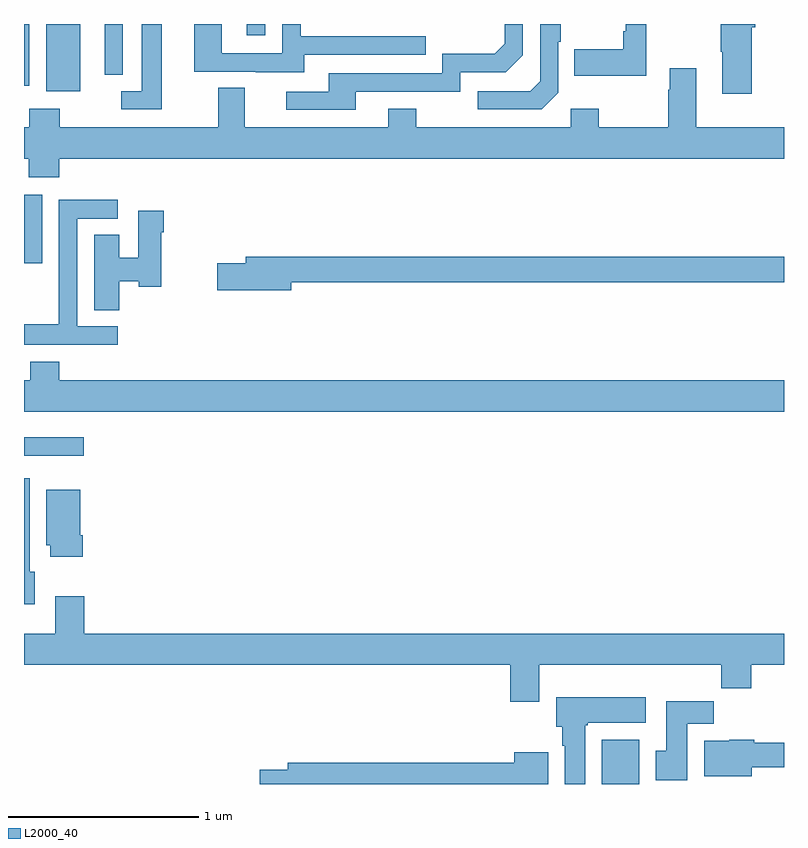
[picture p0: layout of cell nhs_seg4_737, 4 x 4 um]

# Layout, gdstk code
import gdstk
lib = gdstk.Library(unit=1e-6, precision=1e-09)
def R(c, l, rs):  # rectangles x0, y0, x1, y1
    for r in rs: c.add(gdstk.rectangle(r[:2], r[2:], *l))
def P(c, l, *ps):  # polygons
    for p in ps: c.add(gdstk.Polygon(p, *l))
L2000_40 = (2000, 40)

nhs_seg4_737 = lib.new_cell('nhs_seg4_737')
R(nhs_seg4_737, L2000_40, [(152.042,754.9,152.239,755.134), (149,756.627,149.314,756.724), (149,757.641,149.095,758.002), (149.117,758.546,149.296,758.9), (149,758.575,149.028,758.9), (150.173,758.841,150.27,758.9)])
P(nhs_seg4_737, L2000_40, [(149.725,758.9),(149.621,758.9),(149.621,758.547),(149.511,758.547),(149.511,758.451),(149.725,758.451)],
  [(150.475,758.739),(151.115,758.739),(151.115,758.835),(150.456,758.835),(150.456,758.9),(150.36,758.9),(150.36,758.745),(150.042,758.745),(150.042,758.9),(149.897,758.9),(149.897,758.649),(150.221,758.649),(150.221,758.645),(150.475,758.645)],
  [(151.812,758.538),(151.812,758.807),(151.825,758.807),(151.825,758.9),(151.716,758.9),(151.716,758.598),(151.665,758.547),(151.389,758.547),(151.389,758.451),(151.725,758.451)],
  [(149.52,758.9),(149.426,758.9),(149.426,758.786),(149.424,758.786),(149.424,758.632),(149.52,758.632)],
  [(152.83,758.883),(152.848,758.883),(152.848,758.9),(152.668,758.9),(152.668,758.755),(152.675,758.755),(152.675,758.532),(152.83,758.532)],
  [(152.275,758.9),(152.166,758.9),(152.166,758.863),(152.154,758.863),(152.154,758.767),(151.897,758.767),(151.897,758.627),(152.275,758.627)],
  [(150.745,758.544),(151.296,758.544),(151.296,758.646),(151.536,758.646),(151.626,758.736),(151.626,758.9),(151.53,758.9),(151.53,758.796),(151.477,758.743),(151.2,758.743),(151.2,758.64),(150.605,758.64),(150.605,758.544),(150.381,758.544),(150.381,758.448),(150.745,758.448)],
  [(149.186,758.192),(153,758.192),(153,758.356),(152.539,758.356),(152.539,758.668),(152.399,758.668),(152.399,758.555),(152.392,758.555),(152.392,758.356),(152.025,758.356),(152.025,758.455),(151.878,758.455),(151.878,758.356),(151.065,758.356),(151.065,758.455),(150.917,758.455),(150.917,758.356),(150.163,758.356),(150.163,758.564),(150.023,758.564),(150.023,758.356),(149.187,758.356),(149.187,758.455),(149.027,758.455),(149.027,758.356),(149,758.356),(149,758.192),(149.026,758.192),(149.026,758.093),(149.186,758.093)],
  [(149.494,757.308),(149.28,757.308),(149.28,757.875),(149.494,757.875),(149.494,757.974),(149.184,757.974),(149.184,757.544),(149.182,757.544),(149.182,757.321),(149,757.321),(149,757.212),(149.494,757.212)],
  [(149.5,757.547),(149.604,757.547),(149.604,757.517),(149.722,757.517),(149.722,757.805),(149.735,757.805),(149.735,757.918),(149.6,757.918),(149.6,757.669),(149.5,757.669),(149.5,757.79),(149.369,757.79),(149.369,757.393),(149.5,757.393)],
  [(150.406,757.54),(153,757.54),(153,757.676),(150.167,757.676),(150.167,757.64),(150.018,757.64),(150.018,757.498),(150.406,757.498)],
  [(153,757.024),(149.186,757.024),(149.186,757.123),(149.033,757.123),(149.033,757.024),(149,757.024),(149,756.86),(153,756.86)],
  [(149.056,756.018),(149.029,756.018),(149.029,756.508),(149,756.508),(149,755.846),(149.056,755.846)],
  [(149.309,756.208),(149.296,756.208),(149.296,756.448),(149.117,756.448),(149.117,756.156),(149.138,756.156),(149.138,756.096),(149.309,756.096)],
  [(151.711,755.528),(152.671,755.528),(152.671,755.404),(152.828,755.404),(152.828,755.528),(153,755.528),(153,755.692),(149.318,755.692),(149.318,755.887),(149.165,755.887),(149.165,755.692),(149,755.692),(149,755.528),(151.559,755.528),(151.559,755.334),(151.711,755.334)],
  [(151.954,755.209),(151.968,755.209),(151.968,755.222),(152.272,755.222),(152.272,755.356),(151.802,755.356),(151.802,755.202),(151.832,755.202),(151.832,755.102),(151.847,755.102),(151.847,754.9),(151.954,754.9)],
  [(152.491,755.216),(152.63,755.216),(152.63,755.335),(152.381,755.335),(152.381,755.076),(152.324,755.076),(152.324,754.92),(152.491,754.92)],
  [(152.83,754.987),(153,754.987),(153,755.116),(152.843,755.116),(152.843,755.134),(152.712,755.134),(152.712,755.128),(152.579,755.128),(152.579,754.94),(152.83,754.94)],
  [(151.759,755.068),(151.58,755.068),(151.58,755.012),(150.389,755.012),(150.389,754.976),(150.24,754.976),(150.24,754.9),(151.759,754.9)])

lib.write_gds('nhs_seg4_737.gds')
